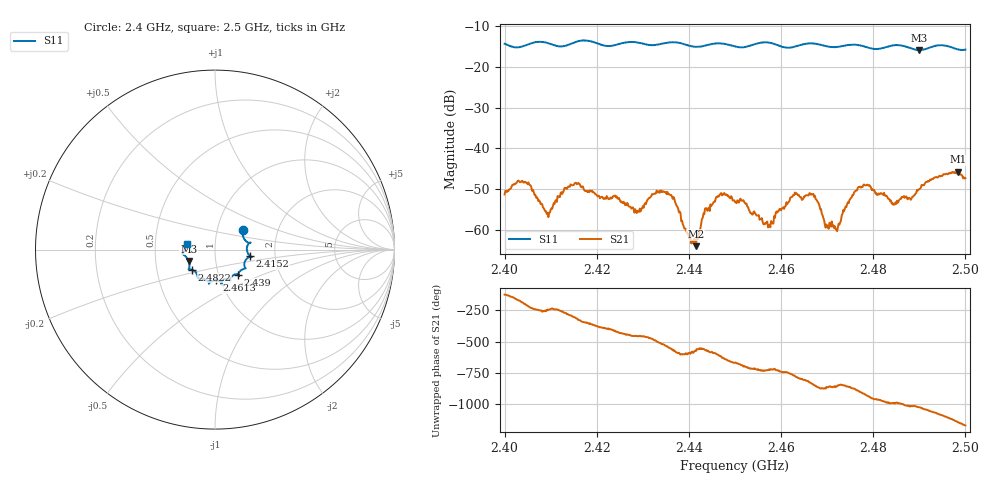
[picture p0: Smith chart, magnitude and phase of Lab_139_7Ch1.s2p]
# Hz S RI R 50
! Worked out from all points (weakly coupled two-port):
!   601 points, 2.4 GHz to 2.5 GHz, reference 50 ohm
!   highest |S21| = -45.71 dB at 2.4983 GHz (marker M1); lowest = -63.9 dB at 2.4415 GHz (marker M2)
!   lowest |S11| = -15.9 dB at 2.49 GHz (marker M3), VSWR 1.38, Z = 36.9 - j4.83 ohm
!   |S11| at or under -10 dB: start of sweep to end of sweep
!   S12 and S22 are empty: the file has one direction only
!   S11 on the Smith chart (normalised r, x): 2.4 GHz: 1.33, +0.31; 2.4152 GHz: 1.48, -0.11; 2.439 GHz: 1.24, -0.36; 2.4613 GHz: 0.96, -0.34; 2.4822 GHz: 0.76, -0.17; 2.5 GHz: 0.73, +0.05
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2.4e9  0.1553 0.1112  -0.00152 -0.00228  0 0  0 0
2.404833e9  0.181 0.0408  -0.0033 0.00188  0 0  0 0
2.409333e9  0.1919 0.0371  -0.00074 0.00146  0 0  0 0
2.415167e9  0.1951 -0.0362  0.00212 0.00306  0 0  0 0
2.416667e9  0.2046 -0.0421  0.00311 0.00125  0 0  0 0
2.428667e9  0.1692 -0.1048  -0.000128 -0.00162  0 0  0 0
2.433333e9  0.1322 -0.1324  -0.00236 -0.00169  0 0  0 0
2.436333e9  0.1346 -0.1476  -0.00231 0.00107  0 0  0 0
2.439e9  0.1278 -0.1388  -0.000489 0.000928  0 0  0 0
2.4415e9  0.1033 -0.1417  -0.000512 0.00038  0 0  0 0
2.446333e9  0.0855 -0.1735  -0.00106 0.0024  0 0  0 0
2.45e9  0.0688 -0.1634  0.00139 0.00172  0 0  0 0
2.457167e9  0.0403 -0.1941  0.00107 -0.000178  0 0  0 0
2.461333e9  0.0076 -0.1709  0.00183 -0.000976  0 0  0 0
2.466667e9  -0.0337 -0.1903  -0.00127 -0.00245  0 0  0 0
2.471833e9  -0.0638 -0.1619  -0.000868 -0.000575  0 0  0 0
2.476667e9  -0.0952 -0.1583  -0.00331 -0.000377  0 0  0 0
2.482167e9  -0.1283 -0.1117  -0.000526 0.00265  0 0  0 0
2.483333e9  -0.1394 -0.1101  0.000175 0.00241  0 0  0 0
2.49e9  -0.1466 -0.0638  0.00192 0.00252  0 0  0 0
2.498333e9  -0.1633 0.00477  0.00199 -0.00479  0 0  0 0
2.5e9  -0.1584 0.0339  -0.00026 -0.00432  0 0  0 0
